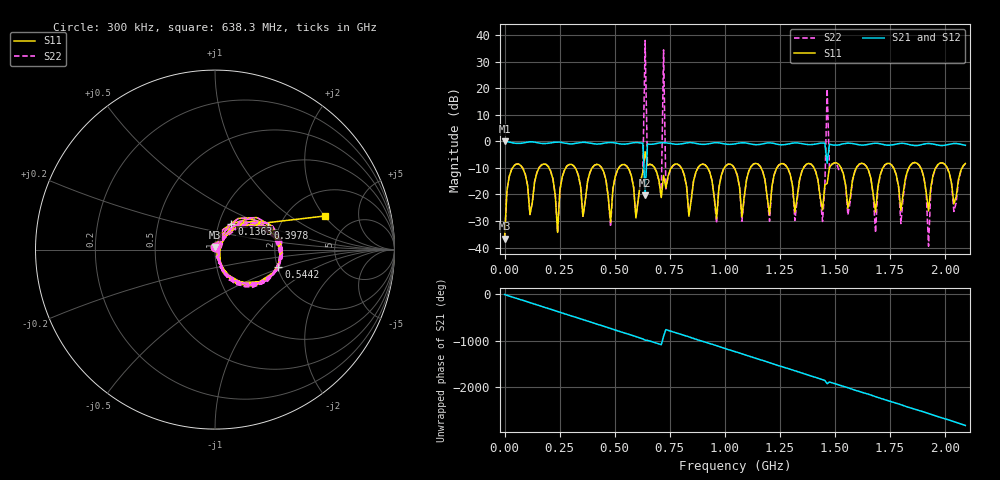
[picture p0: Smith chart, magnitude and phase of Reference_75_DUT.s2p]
!Agilent Technologies,E8357A,US42070586,A.04.87.01
!Agilent E8357A: A.04.87.01
!Date: Thursday, April 15, 2021 17:31:29
!Correction: S11(Full 2 Port SOLT,1,2) S21(Full 2 Port SOLT,1,2) S12(Full 2 Port SOLT,1,2) S22(Full 2 Port SOLT,1,2)
!S2P File: Measurements: S11, S21, S12, S22:
# Hz S  RI  R 50
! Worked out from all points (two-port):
!   201 points, 300 kHz to 2.092 GHz, reference 50 ohm
!   highest |S21| = 0.01 dB at 300 kHz (marker M1); lowest = -20.4 dB at 638.3 MHz (marker M2)
!   |S21| within 3 dB of the highest: start of sweep to 629.1 MHz; 647.8 MHz to 1.457 GHz (809.6 MHz wide, 76.9 % of centre)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
!   lowest |S11| = -36.6 dB at 300 kHz (marker M3), VSWR 1.03, Z = 50 + j1.48 ohm
!   |S11| at or under -10 dB: 201.7 MHz to 278.1 MHz (76.39 MHz wide, 31.8 % of centre); 320.6 MHz to 397.3 MHz (76.74 MHz wide, 21.4 % of centre); 1.889 GHz to 1.957 GHz (67.99 MHz wide, 3.54 % of centre)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
!   |S22| runs from -39.4 to 37.9 dB; largest |S21 - S12| = 30
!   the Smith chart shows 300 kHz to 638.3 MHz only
!   S11 on the Smith chart (normalised r, x): 300 kHz: 1.00, +0.03; 136.3 MHz: 1.15, +0.34; 397.8 MHz: 1.75, +0.48; 544.2 MHz: 2.03, -0.45; 638.3 MHz: 3.17, +2.00
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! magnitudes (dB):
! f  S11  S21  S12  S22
! 300 kHz  -36.6  0.0  0.0  -36.0
! 136.3 MHz  -15.4  -0.3  -0.3  -15.2
! 355.9 MHz  -28.2  -0.4  -0.4  -28.4
! 397.8 MHz  -9.9  -0.8  -0.8  -10.0
! 544.2 MHz  -8.7  -1.1  -1.0  -8.8
! 596.5 MHz  -28.8  -0.5  -0.5  -28.3
! 627.9 MHz  -11.7  -0.8  -0.7  -11.8
! 638.3 MHz  -3.9  -20.4  29.6  37.9
! 648.8 MHz  -9.0  -1.1  -1.0  -9.0
! 701.1 MHz  -14.7  -0.6  -0.6  -14.8
! 711.6 MHz  -21.1  -0.5  -0.5  -21.2
! 722 MHz  -12.9  -0.5  13.4  34.4
! 732.5 MHz  -17.5  -0.6  -0.5  -17.9
! 1.046 GHz  -10.4  -1.0  -0.9  -10.5
! 1.402 GHz  -9.5  -1.2  -1.1  -9.5
! 1.444 GHz  -25.8  -0.6  -0.6  -30.1
! 1.465 GHz  -15.9  -8.3  1.2  19.6
! 1.475 GHz  -9.9  -1.1  -1.0  -10.1
! 1.559 GHz  -25.1  -0.7  -0.7  -27.7
! 1.747 GHz  -8.3  -1.5  -1.4  -8.4
! 1.925 GHz  -26.2  -0.8  -0.8  -39.4
! 2.092 GHz  -8.3  -1.5  -1.4  -8.4
